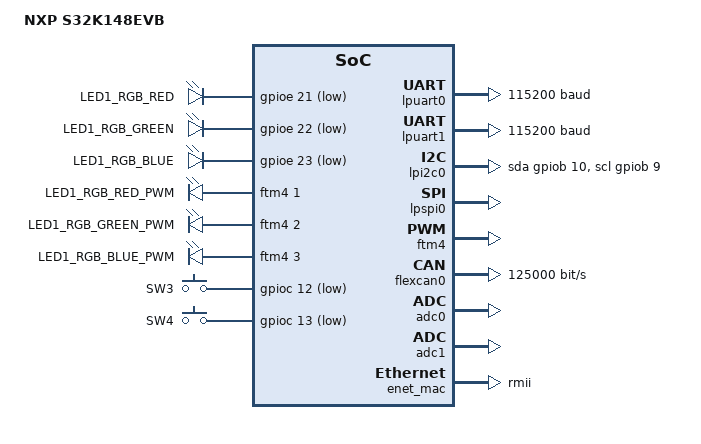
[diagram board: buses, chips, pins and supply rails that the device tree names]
/*
 * Copyright 2023 NXP
 *
 * SPDX-License-Identifier: Apache-2.0
 */

/dts-v1/;
#include <zephyr/dt-bindings/gpio/gpio.h>
#include <zephyr/dt-bindings/input/input-event-codes.h>
#include <zephyr/dt-bindings/pwm/pwm.h>
#include <arm/nxp/nxp_s32k148.dtsi>
#include "s32k148_evb-pinctrl.dtsi"

/ {
	model = "NXP S32K148EVB";
	compatible = "nxp,s32k148_evb";

	chosen {
		zephyr,sram = &sram_l;
		zephyr,flash = &flash0;
		zephyr,console = &lpuart1;
		zephyr,shell-uart = &lpuart1;
		zephyr,uart-pipe = &lpuart1;
		zephyr,canbus = &flexcan0;
	};

	aliases {
		led0 = &led1_red;
		led1 = &led1_green;
		led2 = &led1_blue;
		pwm-led0 = &led1_red_pwm;
		pwm-led1 = &led1_green_pwm;
		pwm-led2 = &led1_blue_pwm;
		red-pwm-led = &led1_red_pwm;
		green-pwm-led = &led1_green_pwm;
		blue-pwm-led = &led1_blue_pwm;
		sw0 = &button_3;
		sw1 = &button_4;
		i2c-0 = &lpi2c0;
	};

	leds {
		compatible = "gpio-leds";

		led1_red: led_0 {
			gpios = <&gpioe 21 GPIO_ACTIVE_LOW>;
			label = "LED1_RGB_RED";
		};

		led1_green: led_1 {
			gpios = <&gpioe 22 GPIO_ACTIVE_LOW>;
			label = "LED1_RGB_GREEN";
		};

		led1_blue: led_2 {
			gpios = <&gpioe 23 GPIO_ACTIVE_LOW>;
			label = "LED1_RGB_BLUE";
		};
	};

	pwmleds {
		compatible = "pwm-leds";

		led1_red_pwm: led_pwm_0 {
			pwms = <&ftm4 1 PWM_MSEC(20) PWM_POLARITY_INVERTED>;
			label = "LED1_RGB_RED_PWM";
		};

		led1_green_pwm: led_pwm_1 {
			pwms = <&ftm4 2 PWM_MSEC(20) PWM_POLARITY_INVERTED>;
			label = "LED1_RGB_GREEN_PWM";
		};

		led1_blue_pwm: led_pwm_2 {
			pwms = <&ftm4 3 PWM_MSEC(20) PWM_POLARITY_INVERTED>;
			label = "LED1_RGB_BLUE_PWM";
		};
	};

	gpio_keys {
		compatible = "gpio-keys";

		button_3: button_0 {
			label = "SW3";
			gpios = <&gpioc 12 GPIO_ACTIVE_LOW>;
			zephyr,code = <INPUT_KEY_0>;
		};

		button_4: button_1 {
			label = "SW4";
			gpios = <&gpioc 13 GPIO_ACTIVE_LOW>;
			zephyr,code = <INPUT_KEY_1>;
		};
	};
};

&cpu0 {
	clock-frequency = <DT_FREQ_M(80)>;
};

&gpioa {
	status = "okay";
};

&gpiob {
	status = "okay";
};

&gpioc {
	status = "okay";
};

&gpiod {
	status = "okay";
};

&gpioe {
	status = "okay";
};

&lpuart0 {
	pinctrl-0 = <&lpuart0_default>;
	pinctrl-names = "default";
	current-speed = <115200>;
};

&lpuart1 {
	pinctrl-0 = <&lpuart1_default>;
	pinctrl-names = "default";
	current-speed = <115200>;
	status = "okay";
};

&lpi2c0 {
	pinctrl-0 = <&lpi2c0_default>;
	pinctrl-names = "default";
	scl-gpios = <&gpiob 9 GPIO_ACTIVE_HIGH>;
	sda-gpios = <&gpiob 10 GPIO_ACTIVE_HIGH>;
	status = "okay";
};

&lpspi0 {
	pinctrl-0 = <&lpspi0_default>;
	pinctrl-names = "default";
	status = "okay";
};

&ftm4 {
	compatible = "nxp,ftm-pwm";
	pinctrl-0 = <&ftm4_default>;
	pinctrl-names = "default";
	clock-source = "system";
	prescaler = <4>;
	#pwm-cells = <3>;
	status = "okay";
};

/*
 * The S32K148EVB board contains a UJA1132 SBC which needs to be configured via SPI.
 * The factory preset forces it to normal mode though, so the CAN phy is enabled
 * even without configuration.
 * Therefore, we don't reference a can phy driver node here for now.
 */
&flexcan0 {
	pinctrl-0 = <&flexcan0_default>;
	pinctrl-names = "default";
	bitrate = <125000>;
	status = "okay";
};

&adc0 {
	sample-time = <65>;
	vref-mv = <5000>;
	status = "okay";
};

&adc1 {
	sample-time = <65>;
	vref-mv = <5000>;
	status = "okay";
};

&enet_mac {
	pinctrl-0 = <&pinmux_enet>;
	pinctrl-names = "default";
	zephyr,random-mac-address;
	phy-connection-type = "rmii";
};

&enet_mdio {
	pinctrl-0 = <&pinmux_enet_mdio>;
	pinctrl-names = "default";
};
